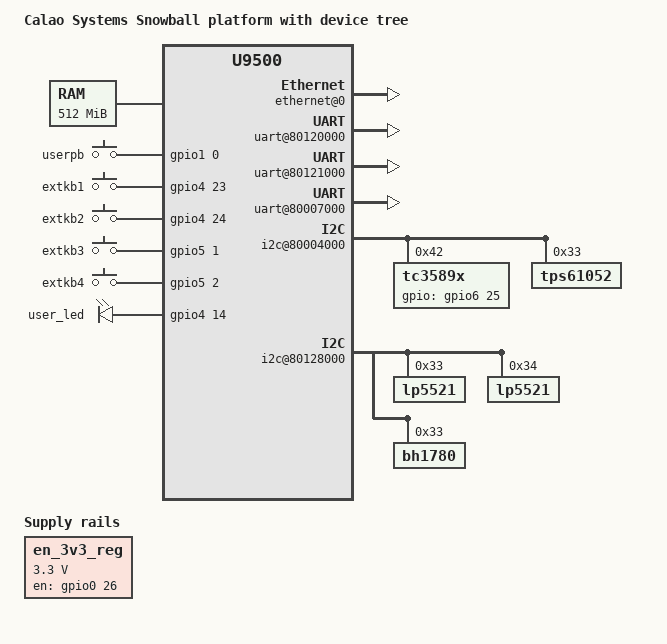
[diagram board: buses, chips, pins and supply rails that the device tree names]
/*
 * Copyright 2011 ST-Ericsson AB
 *
 * The code contained herein is licensed under the GNU General Public
 * License. You may obtain a copy of the GNU General Public License
 * Version 2 or later at the following locations:
 *
 * http://www.opensource.org/licenses/gpl-license.html
 * http://www.gnu.org/copyleft/gpl.html
 */

/dts-v1/;
/include/ "dbx5x0.dtsi"

/ {
	model = "Calao Systems Snowball platform with device tree";
	compatible = "calaosystems,snowball-a9500", "st-ericsson,u9500";

	memory {
		reg = <0x00000000 0x20000000>;
	};

	en_3v3_reg: en_3v3 {
		compatible = "regulator-fixed";
                regulator-name = "en-3v3-fixed-supply";
                regulator-min-microvolt = <3300000>;
                regulator-max-microvolt = <3300000>;
                gpios = <&gpio0 26  0x4>; // 26
                startup-delay-us = <5000>;
                enable-active-high;
	};

	gpio_keys {
		compatible = "gpio-keys";
		#address-cells = <1>;
		#size-cells = <0>;

		button@1 {
			debounce_interval = <50>;
			wakeup = <1>;
			linux,code = <2>;
			label = "userpb";
			gpios = <&gpio1 0 0x4>;
		};
		button@2 {
			debounce_interval = <50>;
			wakeup = <1>;
			linux,code = <3>;
			label = "extkb1";
			gpios = <&gpio4 23 0x4>;
		};
		button@3 {
			debounce_interval = <50>;
			wakeup = <1>;
			linux,code = <4>;
			label = "extkb2";
			gpios = <&gpio4 24 0x4>;
		};
		button@4 {
			debounce_interval = <50>;
			wakeup = <1>;
			linux,code = <5>;
			label = "extkb3";
			gpios = <&gpio5 1 0x4>;
		};
		button@5 {
			debounce_interval = <50>;
			wakeup = <1>;
			linux,code = <6>;
			label = "extkb4";
			gpios = <&gpio5 2 0x4>;
		};
	};

	leds {
		compatible = "gpio-leds";
		used-led {
			label = "user_led";
			gpios = <&gpio4 14 0x4>;
			default-state = "on";
			linux,default-trigger = "heartbeat";
		};
	};

	soc {

		sound {
			compatible = "stericsson,snd-soc-mop500";

			stericsson,cpu-dai = <&msp1 &msp3>;
			stericsson,audio-codec = <&codec>;
		};

		msp1: msp@80124000 {
			status = "okay";
		};

		msp3: msp@80125000 {
			status = "okay";
		};

		external-bus@50000000 {
			status = "okay";

			ethernet@0 {
				compatible = "smsc,lan9115";
				reg = <0 0x10000>;
				interrupts = <12 0x1>;
				interrupt-parent = <&gpio4>;
				vdd33a-supply = <&en_3v3_reg>;
				vddvario-supply = <&db8500_vape_reg>;


				reg-shift = <1>;
				reg-io-width = <2>;
				smsc,force-internal-phy;
				smsc,irq-active-high;
				smsc,irq-push-pull;
			};
		};

		vmmci: regulator-gpio {
			gpios = <&gpio6 25 0x4>;
			enable-gpio = <&gpio7 4 0x4>;

			status = "okay";
		};

		// External Micro SD slot
		sdi0_per1@80126000 {
			arm,primecell-periphid = <0x10480180>;
			max-frequency = <100000000>;
			bus-width = <4>;
			mmc-cap-mmc-highspeed;
			vmmc-supply = <&ab8500_ldo_aux3_reg>;
			vqmmc-supply = <&vmmci>;

			cd-gpios  = <&gpio6 26 0x4>; // 218
			cd-inverted;

			status = "okay";
		};

		// On-board eMMC
		sdi4_per2@80114000 {
			arm,primecell-periphid = <0x10480180>;
		        max-frequency = <100000000>;
			bus-width = <8>;
			mmc-cap-mmc-highspeed;
			vmmc-supply = <&ab8500_ldo_aux2_reg>;

			status = "okay";
		};

		uart@80120000 {
			status = "okay";
		};

		uart@80121000 {
			status = "okay";
		};

		uart@80007000 {
			status = "okay";
		};

		i2c@80004000 {
			tc3589x@42 {
				//compatible = "tc3589x";
				reg = <0x42>;
				gpios = <&gpio6 25 0x4>;
				interrupt-parent = <&gpio6>;
			};
			tps61052@33 {
				//compatible = "tps61052";
				reg = <0x33>;
			};
		};

		i2c@80128000 {
			lp5521@0x33 {
				// compatible = "lp5521";
				reg = <0x33>;
			};
			lp5521@0x34 {
				// compatible = "lp5521";
				reg = <0x34>;
			};
			bh1780@0x29 {
				// compatible = "rohm,bh1780gli";
				reg = <0x33>;
			};
		};

		cpufreq-cooling {
			status = "okay";
		};

		prcmu@80157000 {
			db8500-prcmu-regulators {
				db8500_vape_reg: db8500_vape {
					regulator-name = "db8500-vape";
				};

				db8500_varm_reg: db8500_varm {
					regulator-name = "db8500-varm";
				};

				db8500_vmodem_reg: db8500_vmodem {
					regulator-name = "db8500-vmodem";
				};

				db8500_vpll_reg: db8500_vpll {
					regulator-name = "db8500-vpll";
				};

				db8500_vsmps1_reg: db8500_vsmps1 {
					regulator-name = "db8500-vsmps1";
				};

				db8500_vsmps2_reg: db8500_vsmps2 {
					regulator-name = "db8500-vsmps2";
				};

				db8500_vsmps3_reg: db8500_vsmps3 {
					regulator-name = "db8500-vsmps3";
				};

				db8500_vrf1_reg: db8500_vrf1 {
					regulator-name = "db8500-vrf1";
				};

				db8500_sva_mmdsp_reg: db8500_sva_mmdsp {
					regulator-name = "db8500-sva-mmdsp";
				};

				db8500_sva_mmdsp_ret_reg: db8500_sva_mmdsp_ret {
					regulator-name = "db8500-sva-mmdsp-ret";
				};

				db8500_sva_pipe_reg: db8500_sva_pipe {
					regulator-name = "db8500_sva_pipe";
				};

				db8500_sia_mmdsp_reg: db8500_sia_mmdsp {
					regulator-name = "db8500_sia_mmdsp";
				};

				db8500_sia_mmdsp_ret_reg: db8500_sia_mmdsp_ret {
					regulator-name = "db8500-sia-mmdsp-ret";
				};

				db8500_sia_pipe_reg: db8500_sia_pipe {
					regulator-name = "db8500-sia-pipe";
				};

				db8500_sga_reg: db8500_sga {
					regulator-name = "db8500-sga";
				};

				db8500_b2r2_mcde_reg: db8500_b2r2_mcde {
					regulator-name = "db8500-b2r2-mcde";
				};

				db8500_esram12_reg: db8500_esram12 {
					regulator-name = "db8500-esram12";
				};

				db8500_esram12_ret_reg: db8500_esram12_ret {
					regulator-name = "db8500-esram12-ret";
				};

				db8500_esram34_reg: db8500_esram34 {
					regulator-name = "db8500-esram34";
				};

				db8500_esram34_ret_reg: db8500_esram34_ret {
					regulator-name = "db8500-esram34-ret";
				};
			};

			thermal@801573c0 {
				num-trips = <4>;

				trip0-temp = <70000>;
				trip0-type = "active";
				trip0-cdev-num = <1>;
				trip0-cdev-name0 = "thermal-cpufreq-0";

				trip1-temp = <75000>;
				trip1-type = "active";
				trip1-cdev-num = <1>;
				trip1-cdev-name0 = "thermal-cpufreq-0";

				trip2-temp = <80000>;
				trip2-type = "active";
				trip2-cdev-num = <1>;
				trip2-cdev-name0 = "thermal-cpufreq-0";

				trip3-temp = <85000>;
				trip3-type = "critical";
				trip3-cdev-num = <0>;

				status = "okay";
			};

			ab8500 {
				ab8500-gpio {
					compatible = "stericsson,ab8500-gpio";
				};

				ab8500-regulators {
					ab8500_ldo_aux1_reg: ab8500_ldo_aux1 {
						regulator-name = "V-DISPLAY";
					};

					ab8500_ldo_aux2_reg: ab8500_ldo_aux2 {
						regulator-name = "V-eMMC1";
					};

					ab8500_ldo_aux3_reg: ab8500_ldo_aux3 {
						regulator-name = "V-MMC-SD";
					};

					ab8500_ldo_intcore_reg: ab8500_ldo_intcore {
						regulator-name = "V-INTCORE";
					};

					ab8500_ldo_tvout_reg: ab8500_ldo_tvout {
						regulator-name = "V-TVOUT";
					};

					ab8500_ldo_usb_reg: ab8500_ldo_usb {
						regulator-name = "dummy";
					};

					ab8500_ldo_audio_reg: ab8500_ldo_audio {
						regulator-name = "V-AUD";
					};

					ab8500_ldo_anamic1_reg: ab8500_ldo_anamic1 {
						regulator-name = "V-AMIC1";
					};

					ab8500_ldo_amamic2_reg: ab8500_ldo_amamic2 {
						regulator-name = "V-AMIC2";
					};

					ab8500_ldo_dmic_reg: ab8500_ldo_dmic {
						regulator-name = "V-DMIC";
					};

					ab8500_ldo_ana_reg: ab8500_ldo_ana {
						regulator-name = "V-CSI/DSI";
					};
				};
			};
		};
	};
};
